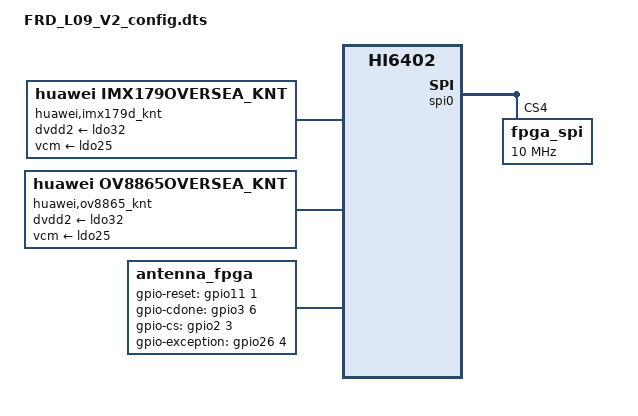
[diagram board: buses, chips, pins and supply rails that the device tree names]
/**
 * Copyright (C) 2014 Hisilicon Ltd.
 *
 *  This program is free software; you can redistribute it and/or modify
 *  it under the terms of the GNU General Public License version 2 as
 *  publishhed by the Free Software Foundation.
 */

/dts-v1/;
/include/ "fastboot.dtsi"
/include/ "FRD_TUGL_V2_config.dtsi"
/include/ "FRD_L09_V2_pin.dtsi"
/include/ "FRD_L09_V2_modem_pin.dtsi"
/include/ "FRD_L09_V2_hi6402_pin.dtsi"
/include/ "huawei_irda.dtsi"
/ {
	hisi,boardid = <3 9 5 0>;
	hisi,boardname = "FRD_L09_V2";
	hisi,modem_id = <0x3C611000>;
	hisi,product_name = "FRD-L09";

	amba {
		i2c4: i2c@FDF0D000 {
			pn547_nfc:nfc@28 {
				status = "disabled";
			};
		};
	};
	nfc_exist {
		nfc_exist_flag = "0";
		status = "disabled";
	};
	devcheck: devcheck {
		nfc = <0>;
	};
	ese_config {
		status = "disabled";
	};

	huawei,imx286d_knt{
		compatible = "huawei,imx286dOversea_knt";
		huawei,ldo-names = "vcm", "vcm2";
	};
	huawei,imx179d_knt{
		compatible = "huawei,imx179Oversea_knt";
		dvdd2-supply = <&ldo32>;
		vcm-supply = <&ldo25>;
		huawei,ldo-names = "dvdd2", "vcm";
	};
	huawei,ov8865_knt{
		compatible = "huawei,ov8865Oversea_knt";
		dvdd2-supply = <&ldo32>;
		vcm-supply = <&ldo25>;
		huawei,ldo-names = "dvdd2", "vcm";
	};

	antenna_fpga{
		compatible = "antenna_fpga";
		antenna_fpga,gpio-reset= <&gpio11 1 0>;
		antenna_fpga,gpio-cdone = <&gpio3 6 0>;
		antenna_fpga,gpio-cs = <&gpio2 3 0>;
		antenna_fpga,pre-image-filename = "FRD-L09-V2.bin";
		antenna_fpga,gpio-exception = <&gpio26 4 0>;
		antenna_fpga,power-disable = <1>;
		status = "ok";
	};

	amba{
		spi0: spi@ffd70000{
			num-cs = <0x5>;
			fpga_spi: fpga_spi@4 {
				compatible = "fpga_spi";
				spi-max-frequency = <0x989680>;
				reg = <4>;
				pl022,com-mode = <2>;
				pl022,interface = <0>;
				pl022,rx-level-trig = <3>;
				pl022,tx-level-trig = <3>;
				pl022,ctrl-len = <7>;
				pl022,wait-state = <0>;
				pl022,duplex = <0>;
				pl022,slave-tx-disable = <0>;
			};
		};
	};

	irda_maxim:irda_maxim {
		ldo_power-supply = <&ldo19>;
		pinctrl-names = "default", "idle";
		pinctrl-0 = <&gpio067_cfg_func &gpio068_cfg_func
				&gpio067_pmx_func &gpio068_pmx_func>;
		pinctrl-1 = <&gpio067_cfg_idle &gpio068_cfg_idle
				&gpio067_pmx_idle &gpio068_pmx_idle>;
		irda,power_type = <1>;
		status = "ok";
	};
	pmic@FFF34000 {
		ldo19: ldo@7C {
			/delete-property/ regulator-always-on;
		};
	};

	hisi_flp:flp {
		hisi,flp_switch = "off";    /* on/off */
	};
};
